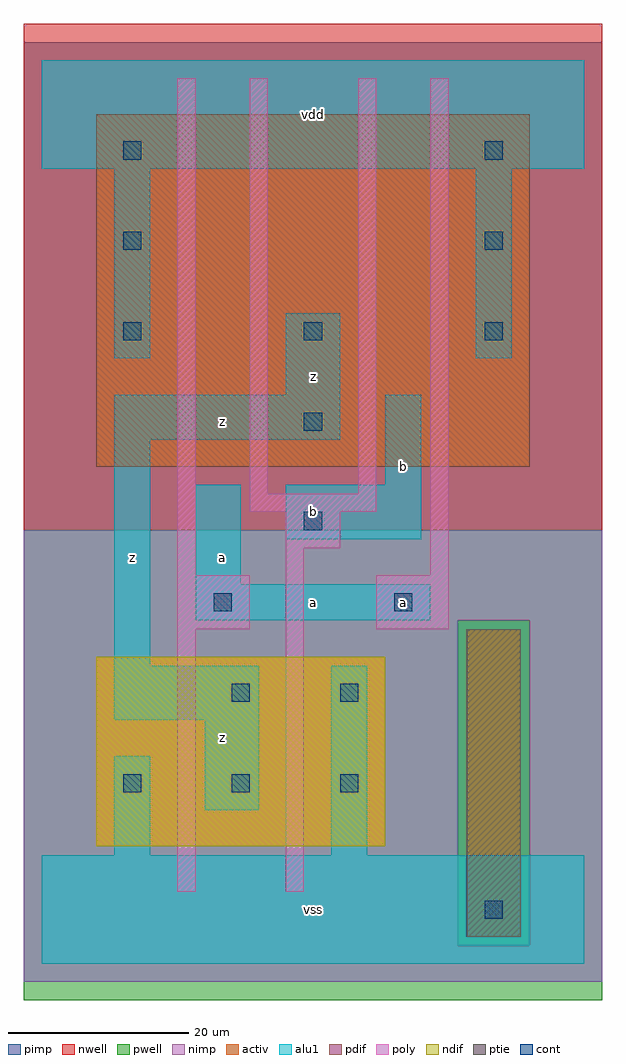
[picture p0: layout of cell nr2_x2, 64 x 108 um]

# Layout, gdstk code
import gdstk
lib = gdstk.Library(unit=1e-6, precision=1e-09)
def R(c, l, rs):  # rectangles x0, y0, x1, y1
    for r in rs: c.add(gdstk.rectangle(r[:2], r[2:], *l))
def A(c, l, x, y, w, h, nx, ny, dx, dy):  # array of equal rectangles
    R(c, l, [(x+i*dx, y+j*dy, x+i*dx+w, y+j*dy+h) for i in range(nx) for j in range(ny)])
ndif = (3, 0)
pdif = (4, 0)
ptie = (6, 0)
cont = (25, 0)
pwell = (41, 0)
nwell = (42, 0)
activ = (43, 0)
pimp = (44, 0)
nimp = (45, 0)
poly = (46, 0)
alu1 = (49, 0)

nr2_x2 = lib.new_cell('nr2_x2')
R(nr2_x2, ndif, [(6,13,38,34)])
R(nr2_x2, pdif, [(6,55,54,94)])
R(nr2_x2, ptie, [(47,3,53,37)])
A(nr2_x2, cont, 9, 19, 2, 2, 3, 1, 12, 0)
A(nr2_x2, cont, 9, 69, 2, 2, 3, 1, 20, 0)
R(nr2_x2, cont, [(49,5,51,7), (21,29,23,31), (33,29,35,31), (19,39,21,41), (39,39,41,41), (29,48,31,50), (29,59,31,61), (9,79,11,81), (49,79,51,81), (9,89,11,91), (49,89,51,91)])
R(nr2_x2, pwell, [(-2,-4,62,48)])
R(nr2_x2, nwell, [(-2,48,62,104)])
R(nr2_x2, activ, [(47,3,53,37), (6,13,38,34), (6,55,54,94)])
R(nr2_x2, pimp, [(46,2,54,38), (-2,48,62,102)])
R(nr2_x2, nimp, [(-2,-2,62,2), (-2,2,46,38), (54,2,62,38), (-2,38,62,48)])
R(nr2_x2, poly, [(15,8,17,37), (27,8,29,46), (15,37,23,43), (37,37,45,43), (15,43,17,98), (43,43,45,98), (27,46,33,50), (23,50,37,52), (23,52,25,98), (35,52,37,98)])
R(nr2_x2, alu1, [(0,0,60,12), (8,12,12,23), (32,12,36,33), (18,17,24,27), (8,27,24,33), (8,33,12,58), (17,38,43,42), (17,42,22,53), (27,47,42,53), (38,53,42,63), (8,58,33,63), (27,63,33,72), (8,67,12,88), (48,67,52,88), (0,88,60,100)])
nr2_x2.add(gdstk.Label('z', (10,45), layer=49, texttype=0))
nr2_x2.add(gdstk.Label('z', (20,25), layer=49, texttype=0))
nr2_x2.add(gdstk.Label('a', (20,45), layer=49, texttype=0))
nr2_x2.add(gdstk.Label('z', (20,60), layer=49, texttype=0))
nr2_x2.add(gdstk.Label('vss', (30,6), layer=49, texttype=0))
nr2_x2.add(gdstk.Label('a', (30,40), layer=49, texttype=0))
nr2_x2.add(gdstk.Label('a', (40,40), layer=49, texttype=0))
nr2_x2.add(gdstk.Label('b', (30,50), layer=49, texttype=0))
nr2_x2.add(gdstk.Label('z', (30,65), layer=49, texttype=0))
nr2_x2.add(gdstk.Label('b', (40,55), layer=49, texttype=0))
nr2_x2.add(gdstk.Label('vdd', (30,94), layer=49, texttype=0))

lib.write_gds('nr2_x2.gds')
